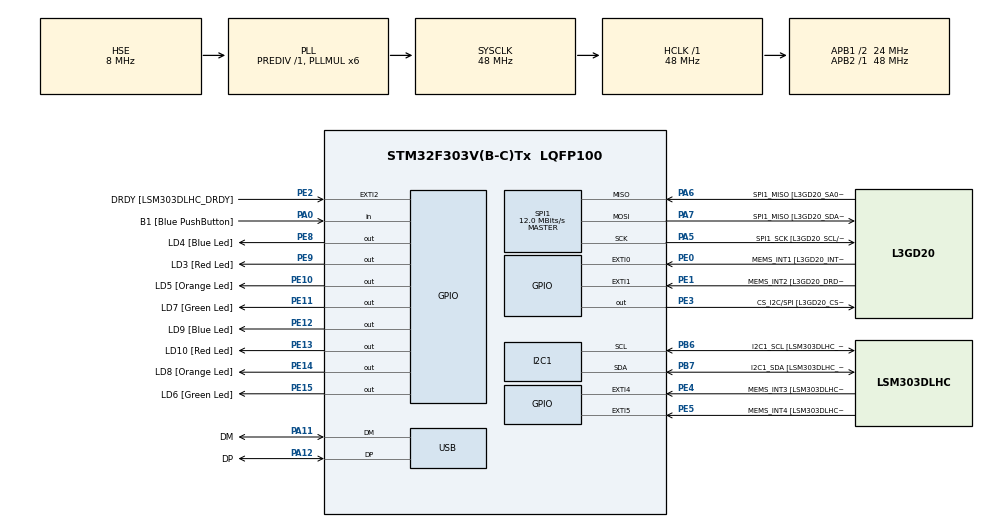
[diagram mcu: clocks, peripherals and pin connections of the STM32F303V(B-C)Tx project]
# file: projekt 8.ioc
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I2C1.Timing=0x00201D2B
I2C1.Timing-I2C=0x2000090E
Mcu.Family=STM32F3
Mcu.Name=STM32F303V(B-C)Tx
Mcu.Package=LQFP100
NVIC.PriorityGroup=NVIC_PRIORITYGROUP_0
NVIC.TIM2_IRQn=true\:0\:0\:false\:false\:true\:true\:true\:true
NVIC.TIM3_IRQn=true\:0\:0\:false\:false\:true\:true\:true\:true
PA0.GPIO_Label=B1 [Blue PushButton]
PA0.Signal=GPIO_Input
PA11.GPIO_Label=DM
PA11.Mode=Device
PA11.Signal=USB_DM
PA12.GPIO_Label=DP
PA12.Mode=Device
PA12.Signal=USB_DP
PA13.GPIO_Label=SWDIO
PA13.Mode=Serial_Wire
PA13.Signal=SYS_JTMS-SWDIO
PA14.GPIO_Label=SWCLK
PA14.Mode=Serial_Wire
PA14.Signal=SYS_JTCK-SWCLK
PA5.GPIO_Label=SPI1_SCK [L3GD20_SCL/SPC]
PA5.Mode=Full_Duplex_Master
PA5.Signal=SPI1_SCK
PA6.GPIO_Label=SPI1_MISO [L3GD20_SA0/SDO]
PA6.Mode=Full_Duplex_Master
PA6.Signal=SPI1_MISO
PA7.GPIO_Label=SPI1_MISO [L3GD20_SDA/SDI/SDO]
PA7.Mode=Full_Duplex_Master
PA7.Signal=SPI1_MOSI
PB3.GPIO_Label=SWO
PB3.Signal=SYS_JTDO-TRACESWO
PB6.GPIO_Label=I2C1_SCL [LSM303DLHC_SCL]
PB6.GPIO_Pu=GPIO_PULLUP
PB6.Mode=I2C
PB6.Signal=I2C1_SCL
PB7.GPIO_Label=I2C1_SDA [LSM303DLHC_SDA]
PB7.GPIO_Pu=GPIO_PULLUP
PB7.Mode=I2C
PB7.Signal=I2C1_SDA
PC14-OSC32_IN.GPIO_Label=OSC32_IN
PC14-OSC32_IN.Signal=RCC_OSC32_IN
PC15-OSC32_OUT.GPIO_Label=OSC32_OUT
PC15-OSC32_OUT.Signal=RCC_OSC32_OUT
PE0.GPIO_Label=MEMS_INT1 [L3GD20_INT1]
PE0.GPIO_ModeDefaultEXTI=GPIO_MODE_EVT_RISING
PE0.Signal=GPXTI0
PE1.GPIO_Label=MEMS_INT2 [L3GD20_DRDY/INT2]
PE1.GPIO_ModeDefaultEXTI=GPIO_MODE_EVT_RISING
PE1.Signal=GPXTI1
PE10.GPIO_Label=LD5 [Orange Led]
PE10.Signal=GPIO_Output
PE11.GPIO_Label=LD7 [Green Led]
PE11.Signal=GPIO_Output
PE12.GPIO_Label=LD9 [Blue Led]
PE12.Signal=GPIO_Output
PE13.GPIO_Label=LD10 [Red Led]
PE13.Signal=GPIO_Output
PE14.GPIO_Label=LD8 [Orange Led]
PE14.Signal=GPIO_Output
PE15.GPIO_Label=LD6 [Green Led]
PE15.Signal=GPIO_Output
PE2.GPIO_Label=DRDY [LSM303DLHC_DRDY]
PE2.GPIO_ModeDefaultEXTI=GPIO_MODE_EVT_RISING
PE2.Signal=GPXTI2
PE3.GPIO_Label=CS_I2C/SPI [L3GD20_CS_I2C/SPI]
PE3.Signal=GPIO_Output
PE4.GPIO_Label=MEMS_INT3 [LSM303DLHC_INT1]
PE4.GPIO_ModeDefaultEXTI=GPIO_MODE_EVT_RISING
PE4.Signal=GPXTI4
PE5.GPIO_Label=MEMS_INT4 [LSM303DLHC_INT2]
PE5.GPIO_ModeDefaultEXTI=GPIO_MODE_EVT_RISING
PE5.Signal=GPXTI5
PE8.GPIO_Label=LD4 [Blue Led]
PE8.Signal=GPIO_Output
PE9.GPIO_Label=LD3 [Red Led]
PE9.Signal=GPIO_Output
PF0-OSC_IN.GPIO_Label=OSC_IN
PF0-OSC_IN.Mode=HSE-External-Clock-Source
PF0-OSC_IN.Signal=RCC_OSC_IN
PF1-OSC_OUT.GPIO_Label=OSC_OUT
PF1-OSC_OUT.Signal=RCC_OSC_OUT
ProjectManager.HeapSize=0x200
ProjectManager.StackSize=0x400
ProjectManager.TargetToolchain=STM32CubeIDE
RCC.AHBFreq_Value=48000000
RCC.APB1CLKDivider=RCC_HCLK_DIV2
RCC.APB1Freq_Value=24000000
RCC.APB1TimFreq_Value=48000000
RCC.APB2Freq_Value=48000000
RCC.APB2TimFreq_Value=48000000
RCC.CortexFreq_Value=48000000
RCC.HCLKFreq_Value=48000000
RCC.HSE_VALUE=8000000
RCC.HSI_VALUE=8000000
RCC.LSE_VALUE=32768
RCC.PLLMUL=RCC_PLL_MUL6
RCC.SYSCLKFreq_VALUE=48000000
RCC.SYSCLKSourceVirtual=RCC_SYSCLKSOURCE_PLLCLK
RCC.USBFreq_Value=48000000
SPI1.BaudRatePrescaler=SPI_BAUDRATEPRESCALER_4
SPI1.BaudRatePrescaler-Full_Duplex_Master=SPI_BAUDRATEPRESCALER_2
SPI1.CalculateBaudRate=12.0 MBits/s
SPI1.CalculateBaudRate-Full_Duplex_Master=24.0 MBits/s
SPI1.Direction=SPI_DIRECTION_2LINES
SPI1.Mode=SPI_MODE_MASTER
SPI1.Mode-Full_Duplex_Master=SPI_MODE_MASTER
SPI1.VirtualType=VM_MASTER
TIM2.Period=10-1
TIM2.Prescaler=7200-1
TIM3.Period=100-1
TIM3.Prescaler=7200-1
VP_TIM2_VS_ClockSourceINT.Mode=Internal
VP_TIM3_VS_ClockSourceINT.Mode=Internal
board=STM32F3DISCOVERY

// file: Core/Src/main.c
/* USER CODE BEGIN Header */
/**
  ******************************************************************************
  * @file           : main.c
  * @brief          : Main program body
  ******************************************************************************
  * @attention
  *
  * Copyright (c) 2026 STMicroelectronics.
  * All rights reserved.
  *
  * This software is licensed under terms that can be found in the LICENSE file
  * in the root directory of this software component.
  * If no LICENSE file comes with this software, it is provided AS-IS.
  *
  ******************************************************************************
  */
/* USER CODE END Header */
#include "main.h"
volatile uint8_t counter = 0;

I2C_HandleTypeDef hi2c1;

SPI_HandleTypeDef hspi1;

TIM_HandleTypeDef htim2;
TIM_HandleTypeDef htim3;

PCD_HandleTypeDef hpcd_USB_FS;

void SystemClock_Config(void);
static void MX_GPIO_Init(void);
static void MX_I2C1_Init(void);
static void MX_SPI1_Init(void);
static void MX_USB_PCD_Init(void);
static void MX_TIM2_Init(void);
static void MX_TIM3_Init(void);

int main(void)
{

  /* MCU Configuration--------------------------------------------------------*/

  /* Reset of all peripherals, Initializes the Flash interface and the Systick. */
  HAL_Init();

  /* Configure the system clock */
  SystemClock_Config();

  /* Initialize all configured peripherals */
  MX_GPIO_Init();
  MX_I2C1_Init();
  MX_SPI1_Init();
  MX_USB_PCD_Init();
  MX_TIM2_Init();
  MX_TIM3_Init();
  /* USER CODE BEGIN 2 */
  HAL_TIM_Base_Start_IT(&htim2);
  HAL_TIM_Base_Start_IT(&htim3);
  /* USER CODE END 2 */

  /* Infinite loop */
  /* USER CODE BEGIN WHILE */
  while (1)
  {
		if (counter == 1)
		{

			HAL_GPIO_WritePin(GPIOE, GPIO_PIN_8, GPIO_PIN_SET);
		}
		else if (counter > 3)
		{
			counter = 0;
			HAL_GPIO_WritePin(GPIOE, GPIO_PIN_10, GPIO_PIN_RESET);
		}

    /* USER CODE END WHILE */

  }
}

void SystemClock_Config(void)
{
  RCC_OscInitTypeDef RCC_OscInitStruct = {0};
  RCC_ClkInitTypeDef RCC_ClkInitStruct = {0};
  RCC_PeriphCLKInitTypeDef PeriphClkInit = {0};

  /** Initializes the RCC Oscillators according to the specified parameters
  * in the RCC_OscInitTypeDef structure.
  */
  RCC_OscInitStruct.OscillatorType = RCC_OSCILLATORTYPE_HSI|RCC_OSCILLATORTYPE_HSE;
  RCC_OscInitStruct.HSEState = RCC_HSE_BYPASS;
  RCC_OscInitStruct.HSEPredivValue = RCC_HSE_PREDIV_DIV1;
  RCC_OscInitStruct.HSIState = RCC_HSI_ON;
  RCC_OscInitStruct.HSICalibrationValue = RCC_HSICALIBRATION_DEFAULT;
  RCC_OscInitStruct.PLL.PLLState = RCC_PLL_ON;
  RCC_OscInitStruct.PLL.PLLSource = RCC_PLLSOURCE_HSE;
  RCC_OscInitStruct.PLL.PLLMUL = RCC_PLL_MUL6;
  if (HAL_RCC_OscConfig(&RCC_OscInitStruct) != HAL_OK)
  {
    Error_Handler();
  }

  /** Initializes the CPU, AHB and APB buses clocks
  */
  RCC_ClkInitStruct.ClockType = RCC_CLOCKTYPE_HCLK|RCC_CLOCKTYPE_SYSCLK
                              |RCC_CLOCKTYPE_PCLK1|RCC_CLOCKTYPE_PCLK2;
  RCC_ClkInitStruct.SYSCLKSource = RCC_SYSCLKSOURCE_PLLCLK;
  RCC_ClkInitStruct.AHBCLKDivider = RCC_SYSCLK_DIV1;
  RCC_ClkInitStruct.APB1CLKDivider = RCC_HCLK_DIV2;
  RCC_ClkInitStruct.APB2CLKDivider = RCC_HCLK_DIV1;

  if (HAL_RCC_ClockConfig(&RCC_ClkInitStruct, FLASH_LATENCY_1) != HAL_OK)
  {
    Error_Handler();
  }
  PeriphClkInit.PeriphClockSelection = RCC_PERIPHCLK_USB|RCC_PERIPHCLK_I2C1;
  PeriphClkInit.I2c1ClockSelection = RCC_I2C1CLKSOURCE_HSI;
  PeriphClkInit.USBClockSelection = RCC_USBCLKSOURCE_PLL;
  if (HAL_RCCEx_PeriphCLKConfig(&PeriphClkInit) != HAL_OK)
  {
    Error_Handler();
  }
}

static void MX_I2C1_Init(void)
{

  hi2c1.Instance = I2C1;
  hi2c1.Init.Timing = 0x00201D2B;
  hi2c1.Init.OwnAddress1 = 0;
  hi2c1.Init.AddressingMode = I2C_ADDRESSINGMODE_7BIT;
  hi2c1.Init.DualAddressMode = I2C_DUALADDRESS_DISABLE;
  hi2c1.Init.OwnAddress2 = 0;
  hi2c1.Init.OwnAddress2Masks = I2C_OA2_NOMASK;
  hi2c1.Init.GeneralCallMode = I2C_GENERALCALL_DISABLE;
  hi2c1.Init.NoStretchMode = I2C_NOSTRETCH_DISABLE;
  if (HAL_I2C_Init(&hi2c1) != HAL_OK)
  {
    Error_Handler();
  }

  /** Configure Analogue filter
  */
  if (HAL_I2CEx_ConfigAnalogFilter(&hi2c1, I2C_ANALOGFILTER_ENABLE) != HAL_OK)
  {
    Error_Handler();
  }

  /** Configure Digital filter
  */
  if (HAL_I2CEx_ConfigDigitalFilter(&hi2c1, 0) != HAL_OK)
  {
    Error_Handler();
  }

}

static void MX_SPI1_Init(void)
{

  /* SPI1 parameter configuration*/
  hspi1.Instance = SPI1;
  hspi1.Init.Mode = SPI_MODE_MASTER;
  hspi1.Init.Direction = SPI_DIRECTION_2LINES;
  hspi1.Init.DataSize = SPI_DATASIZE_4BIT;
  hspi1.Init.CLKPolarity = SPI_POLARITY_LOW;
  hspi1.Init.CLKPhase = SPI_PHASE_1EDGE;
  hspi1.Init.NSS = SPI_NSS_SOFT;
  hspi1.Init.BaudRatePrescaler = SPI_BAUDRATEPRESCALER_4;
  hspi1.Init.FirstBit = SPI_FIRSTBIT_MSB;
  hspi1.Init.TIMode = SPI_TIMODE_DISABLE;
  hspi1.Init.CRCCalculation = SPI_CRCCALCULATION_DISABLE;
  hspi1.Init.CRCPolynomial = 7;
  hspi1.Init.CRCLength = SPI_CRC_LENGTH_DATASIZE;
  hspi1.Init.NSSPMode = SPI_NSS_PULSE_ENABLE;
  if (HAL_SPI_Init(&hspi1) != HAL_OK)
  {
    Error_Handler();
  }

}

static void MX_TIM2_Init(void)
{

  TIM_ClockConfigTypeDef sClockSourceConfig = {0};
  TIM_MasterConfigTypeDef sMasterConfig = {0};

  htim2.Instance = TIM2;
  htim2.Init.Prescaler = 7200-1;
  htim2.Init.CounterMode = TIM_COUNTERMODE_UP;
  htim2.Init.Period = 10-1;
  htim2.Init.ClockDivision = TIM_CLOCKDIVISION_DIV1;
  htim2.Init.AutoReloadPreload = TIM_AUTORELOAD_PRELOAD_DISABLE;
  if (HAL_TIM_Base_Init(&htim2) != HAL_OK)
  {
    Error_Handler();
  }
  sClockSourceConfig.ClockSource = TIM_CLOCKSOURCE_INTERNAL;
  if (HAL_TIM_ConfigClockSource(&htim2, &sClockSourceConfig) != HAL_OK)
  {
    Error_Handler();
  }
  sMasterConfig.MasterOutputTrigger = TIM_TRGO_RESET;
  sMasterConfig.MasterSlaveMode = TIM_MASTERSLAVEMODE_DISABLE;
  if (HAL_TIMEx_MasterConfigSynchronization(&htim2, &sMasterConfig) != HAL_OK)
  {
    Error_Handler();
  }

}

static void MX_TIM3_Init(void)
{

  TIM_ClockConfigTypeDef sClockSourceConfig = {0};
  TIM_MasterConfigTypeDef sMasterConfig = {0};

  htim3.Instance = TIM3;
  htim3.Init.Prescaler = 7200-1;
  htim3.Init.CounterMode = TIM_COUNTERMODE_UP;
  htim3.Init.Period = 100-1;
  htim3.Init.ClockDivision = TIM_CLOCKDIVISION_DIV1;
  htim3.Init.AutoReloadPreload = TIM_AUTORELOAD_PRELOAD_DISABLE;
  if (HAL_TIM_Base_Init(&htim3) != HAL_OK)
  {
    Error_Handler();
  }
  sClockSourceConfig.ClockSource = TIM_CLOCKSOURCE_INTERNAL;
  if (HAL_TIM_ConfigClockSource(&htim3, &sClockSourceConfig) != HAL_OK)
  {
    Error_Handler();
  }
  sMasterConfig.MasterOutputTrigger = TIM_TRGO_RESET;
  sMasterConfig.MasterSlaveMode = TIM_MASTERSLAVEMODE_DISABLE;
  if (HAL_TIMEx_MasterConfigSynchronization(&htim3, &sMasterConfig) != HAL_OK)
  {
    Error_Handler();
  }

}

static void MX_USB_PCD_Init(void)
{

  hpcd_USB_FS.Instance = USB;
  hpcd_USB_FS.Init.dev_endpoints = 8;
  hpcd_USB_FS.Init.speed = PCD_SPEED_FULL;
  hpcd_USB_FS.Init.phy_itface = PCD_PHY_EMBEDDED;
  hpcd_USB_FS.Init.low_power_enable = DISABLE;
  hpcd_USB_FS.Init.battery_charging_enable = DISABLE;
  if (HAL_PCD_Init(&hpcd_USB_FS) != HAL_OK)
  {
    Error_Handler();
  }

}

static void MX_GPIO_Init(void)
{
  GPIO_InitTypeDef GPIO_InitStruct = {0};

  /* GPIO Ports Clock Enable */
  __HAL_RCC_GPIOE_CLK_ENABLE();
  __HAL_RCC_GPIOC_CLK_ENABLE();
  __HAL_RCC_GPIOF_CLK_ENABLE();
  __HAL_RCC_GPIOA_CLK_ENABLE();
  __HAL_RCC_GPIOB_CLK_ENABLE();

  /*Configure GPIO pin Output Level */
  HAL_GPIO_WritePin(GPIOE, CS_I2C_SPI_Pin|LD4_Pin|LD3_Pin|LD5_Pin
                          |LD7_Pin|LD9_Pin|LD10_Pin|LD8_Pin
                          |LD6_Pin, GPIO_PIN_RESET);

  /*Configure GPIO pins : DRDY_Pin MEMS_INT3_Pin MEMS_INT4_Pin MEMS_INT1_Pin
                           MEMS_INT2_Pin */
  GPIO_InitStruct.Pin = DRDY_Pin|MEMS_INT3_Pin|MEMS_INT4_Pin|MEMS_INT1_Pin
                          |MEMS_INT2_Pin;
  GPIO_InitStruct.Mode = GPIO_MODE_EVT_RISING;
  GPIO_InitStruct.Pull = GPIO_NOPULL;
  HAL_GPIO_Init(GPIOE, &GPIO_InitStruct);

  /*Configure GPIO pins : CS_I2C_SPI_Pin LD4_Pin LD3_Pin LD5_Pin
                           LD7_Pin LD9_Pin LD10_Pin LD8_Pin
                           LD6_Pin */
  GPIO_InitStruct.Pin = CS_I2C_SPI_Pin|LD4_Pin|LD3_Pin|LD5_Pin
                          |LD7_Pin|LD9_Pin|LD10_Pin|LD8_Pin
                          |LD6_Pin;
  GPIO_InitStruct.Mode = GPIO_MODE_OUTPUT_PP;
  GPIO_InitStruct.Pull = GPIO_NOPULL;
  GPIO_InitStruct.Speed = GPIO_SPEED_FREQ_LOW;
  HAL_GPIO_Init(GPIOE, &GPIO_InitStruct);

  /*Configure GPIO pin : B1_Pin */
  GPIO_InitStruct.Pin = B1_Pin;
  GPIO_InitStruct.Mode = GPIO_MODE_INPUT;
  GPIO_InitStruct.Pull = GPIO_NOPULL;
  HAL_GPIO_Init(B1_GPIO_Port, &GPIO_InitStruct);

}

/* USER CODE BEGIN 4 */
static uint8_t time = 0;
volatile uint8_t last = 0;
void HAL_TIM_PeriodElapsedCallback(TIM_HandleTypeDef *htim)
{
	if(htim->Instance == TIM2)
	{
		uint8_t current = HAL_GPIO_ReadPin(GPIOA, GPIO_PIN_0);
		if(current == 1 && last == 0)
		{
			HAL_GPIO_WritePin(GPIOE, GPIO_PIN_13, GPIO_PIN_SET);
			counter++;
		}
		last = current;

	}
	if(htim->Instance == TIM3)
	{
		if(counter == 2)
		{
			time++;
			if(time == 5)
			{
				HAL_GPIO_WritePin(GPIOE, GPIO_PIN_8, GPIO_PIN_RESET);
				HAL_GPIO_TogglePin(GPIOE, GPIO_PIN_9);
						time = 0;
			}
		}
		if(counter == 3)
		{
			time++;
			if(time == 10)
			{
				HAL_GPIO_WritePin(GPIOE, GPIO_PIN_9, GPIO_PIN_RESET);
				HAL_GPIO_TogglePin(GPIOE, GPIO_PIN_10);
						time = 0;
			}

		}
	}
}
/* USER CODE END 4 */

void Error_Handler(void)
{
  __disable_irq();
  while (1)
  {
  }
}
